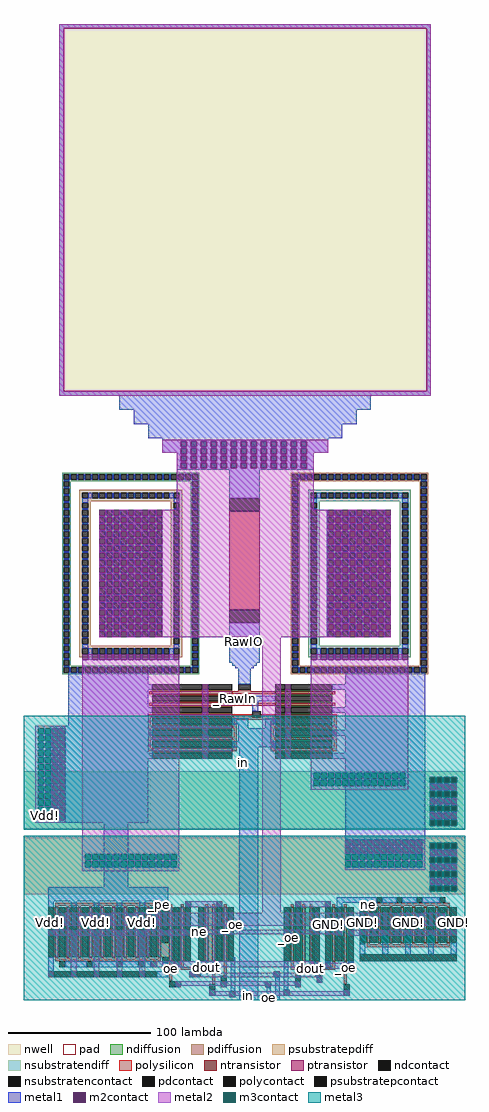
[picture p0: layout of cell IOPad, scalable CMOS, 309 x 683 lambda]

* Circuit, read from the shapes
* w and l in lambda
.subckt IOPad GND! RawIO Vdd! _RawIn _oe _pe dout in ne oe
M1 in _RawIn GND! GND! nfet w=40 l=2 m=4
M2 _RawIn RawIO GND! GND! nfet w=40 l=2 m=2
M3 GND! oe _oe GND! nfet w=38 l=2
M4 n1 oe GND! GND! nfet w=38 l=2
M5 _pe dout n1 GND! nfet w=38 l=2
M6 ne dout GND! GND! nfet w=38 l=2
M7 GND! _oe ne GND! nfet w=38 l=2
M8 RawIO ne GND! GND! nfet w=25 l=2 m=8
M9 RawIO _pe Vdd! Vdd! pfet w=35 l=2 m=10
M10 in _RawIn Vdd! Vdd! pfet w=56 l=2 m=4
M11 _RawIn RawIO Vdd! Vdd! pfet w=56 l=2 m=2
M12 _pe oe Vdd! Vdd! pfet w=38 l=2
M13 Vdd! dout _pe Vdd! pfet w=38 l=2
M14 n2 dout ne Vdd! pfet w=38 l=2
M15 Vdd! _oe n2 Vdd! pfet w=38 l=2
M16 _oe oe Vdd! Vdd! pfet w=38 l=2
.ends

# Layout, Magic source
magic
tech scmos
<< ntransistor >>
rect 144 -152 184 -150
rect 144 -160 184 -158
rect 144 -168 184 -166
rect 144 -176 184 -174
rect 144 -184 184 -182
rect 144 -192 184 -190
rect 155 -339 157 -301
rect 163 -339 165 -301
rect 168 -339 170 -301
rect 184 -339 186 -301
rect 192 -339 194 -301
rect 208 -326 210 -301
rect 216 -326 218 -301
rect 224 -326 226 -301
rect 232 -326 234 -301
rect 240 -326 242 -301
rect 248 -326 250 -301
rect 256 -326 258 -301
rect 264 -326 266 -301
<< ptransistor >>
rect 58 -152 114 -150
rect 58 -160 114 -158
rect 58 -168 114 -166
rect 58 -176 114 -174
rect 58 -184 114 -182
rect 58 -192 114 -190
rect -10 -336 -8 -301
rect -2 -336 0 -301
rect 6 -336 8 -301
rect 14 -336 16 -301
rect 22 -336 24 -301
rect 30 -336 32 -301
rect 38 -336 40 -301
rect 46 -336 48 -301
rect 54 -336 56 -301
rect 62 -336 64 -301
rect 70 -339 72 -301
rect 78 -339 80 -301
rect 95 -339 97 -301
rect 100 -339 102 -301
rect 108 -339 110 -301
<< ndiffusion >>
rect 151 -149 155 -145
rect 144 -150 184 -149
rect 144 -153 184 -152
rect 144 -158 184 -157
rect 144 -161 184 -160
rect 151 -165 155 -161
rect 144 -166 184 -165
rect 144 -169 184 -168
rect 144 -174 184 -173
rect 144 -177 184 -176
rect 151 -181 155 -177
rect 144 -182 184 -181
rect 144 -185 184 -184
rect 144 -190 184 -189
rect 144 -193 184 -192
rect 151 -197 155 -193
rect 154 -339 155 -301
rect 157 -339 158 -301
rect 162 -339 163 -301
rect 165 -339 168 -301
rect 170 -339 171 -301
rect 183 -339 184 -301
rect 186 -317 187 -301
rect 191 -317 192 -301
rect 186 -321 192 -317
rect 186 -339 187 -321
rect 191 -339 192 -321
rect 194 -317 195 -301
rect 194 -321 199 -317
rect 194 -339 195 -321
rect 207 -317 208 -301
rect 203 -321 208 -317
rect 207 -326 208 -321
rect 210 -305 211 -301
rect 215 -305 216 -301
rect 210 -314 216 -305
rect 210 -326 211 -314
rect 215 -326 216 -314
rect 218 -317 219 -301
rect 223 -317 224 -301
rect 218 -321 224 -317
rect 218 -326 219 -321
rect 223 -326 224 -321
rect 226 -305 227 -301
rect 231 -305 232 -301
rect 226 -314 232 -305
rect 226 -326 227 -314
rect 231 -326 232 -314
rect 234 -317 235 -301
rect 239 -317 240 -301
rect 234 -321 240 -317
rect 234 -326 235 -321
rect 239 -326 240 -321
rect 242 -305 243 -301
rect 247 -305 248 -301
rect 242 -314 248 -305
rect 242 -326 243 -314
rect 247 -326 248 -314
rect 250 -317 251 -301
rect 255 -317 256 -301
rect 250 -321 256 -317
rect 250 -326 251 -321
rect 255 -326 256 -321
rect 258 -305 259 -301
rect 263 -305 264 -301
rect 258 -314 264 -305
rect 258 -326 259 -314
rect 263 -326 264 -314
rect 266 -317 267 -301
rect 266 -321 271 -317
rect 266 -326 267 -321
<< pdiffusion >>
rect 93 -149 97 -145
rect 58 -150 114 -149
rect 58 -153 114 -152
rect 58 -158 114 -157
rect 58 -161 114 -160
rect 93 -165 97 -161
rect 58 -166 114 -165
rect 58 -169 114 -168
rect 58 -174 114 -173
rect 58 -177 114 -176
rect 93 -181 97 -177
rect 58 -182 114 -181
rect 58 -185 114 -184
rect 58 -190 114 -189
rect 58 -193 114 -192
rect 93 -197 97 -193
rect -11 -317 -10 -301
rect -15 -321 -10 -317
rect -11 -336 -10 -321
rect -8 -305 -7 -301
rect -3 -305 -2 -301
rect -8 -314 -2 -305
rect -8 -336 -7 -314
rect -3 -336 -2 -314
rect 0 -317 1 -301
rect 5 -317 6 -301
rect 0 -321 6 -317
rect 0 -336 1 -321
rect 5 -336 6 -321
rect 8 -305 9 -301
rect 13 -305 14 -301
rect 8 -314 14 -305
rect 8 -336 9 -314
rect 13 -336 14 -314
rect 16 -317 17 -301
rect 21 -317 22 -301
rect 16 -321 22 -317
rect 16 -336 17 -321
rect 21 -336 22 -321
rect 24 -305 25 -301
rect 29 -305 30 -301
rect 24 -314 30 -305
rect 24 -336 25 -314
rect 29 -336 30 -314
rect 32 -317 33 -301
rect 37 -317 38 -301
rect 32 -321 38 -317
rect 32 -336 33 -321
rect 37 -336 38 -321
rect 40 -305 41 -301
rect 45 -305 46 -301
rect 40 -314 46 -305
rect 40 -336 41 -314
rect 45 -336 46 -314
rect 48 -317 49 -301
rect 53 -317 54 -301
rect 48 -321 54 -317
rect 48 -336 49 -321
rect 53 -336 54 -321
rect 56 -305 57 -301
rect 61 -305 62 -301
rect 56 -314 62 -305
rect 56 -336 57 -314
rect 61 -336 62 -314
rect 64 -317 65 -301
rect 69 -317 70 -301
rect 64 -321 70 -317
rect 64 -326 65 -321
rect 69 -326 70 -321
rect 64 -336 70 -326
rect 69 -339 70 -336
rect 72 -339 73 -301
rect 77 -339 78 -301
rect 80 -317 81 -301
rect 80 -321 85 -317
rect 80 -339 81 -321
rect 94 -317 95 -301
rect 90 -321 95 -317
rect 94 -339 95 -321
rect 97 -339 100 -301
rect 102 -339 103 -301
rect 107 -339 108 -301
rect 110 -339 111 -301
<< ndcontact >>
rect 144 -149 151 -145
rect 155 -149 184 -145
rect 144 -157 184 -153
rect 144 -165 151 -161
rect 155 -165 184 -161
rect 144 -173 184 -169
rect 144 -181 151 -177
rect 155 -181 184 -177
rect 144 -189 184 -185
rect 144 -197 151 -193
rect 155 -197 184 -193
rect 150 -339 154 -301
rect 158 -339 162 -301
rect 171 -339 175 -301
rect 179 -339 183 -301
rect 187 -317 191 -301
rect 187 -339 191 -321
rect 195 -317 199 -301
rect 195 -339 199 -321
rect 203 -317 207 -301
rect 203 -326 207 -321
rect 211 -305 215 -301
rect 211 -326 215 -314
rect 219 -317 223 -301
rect 219 -326 223 -321
rect 227 -305 231 -301
rect 227 -326 231 -314
rect 235 -317 239 -301
rect 235 -326 239 -321
rect 243 -305 247 -301
rect 243 -326 247 -314
rect 251 -317 255 -301
rect 251 -326 255 -321
rect 259 -305 263 -301
rect 259 -326 263 -314
rect 267 -317 271 -301
rect 267 -326 271 -321
<< pdcontact >>
rect 58 -149 93 -145
rect 97 -149 114 -145
rect 58 -157 114 -153
rect 58 -165 93 -161
rect 97 -165 114 -161
rect 58 -173 114 -169
rect 58 -181 93 -177
rect 97 -181 114 -177
rect 58 -189 114 -185
rect 58 -197 93 -193
rect 97 -197 114 -193
rect -15 -317 -11 -301
rect -15 -336 -11 -321
rect -7 -305 -3 -301
rect -7 -336 -3 -314
rect 1 -317 5 -301
rect 1 -336 5 -321
rect 9 -305 13 -301
rect 9 -336 13 -314
rect 17 -317 21 -301
rect 17 -336 21 -321
rect 25 -305 29 -301
rect 25 -336 29 -314
rect 33 -317 37 -301
rect 33 -336 37 -321
rect 41 -305 45 -301
rect 41 -336 45 -314
rect 49 -317 53 -301
rect 49 -336 53 -321
rect 57 -305 61 -301
rect 57 -336 61 -314
rect 65 -317 69 -301
rect 65 -326 69 -321
rect 65 -340 69 -336
rect 73 -339 77 -301
rect 81 -317 85 -301
rect 81 -339 85 -321
rect 90 -317 94 -301
rect 90 -339 94 -321
rect 103 -339 107 -301
rect 111 -339 115 -301
<< nsubstratendiff >>
rect -15 -350 -11 -346
rect 1 -350 5 -346
rect 17 -350 21 -346
rect 33 -350 37 -346
rect 49 -350 53 -346
<< psubstratepcontact >>
rect 203 -339 271 -334
<< nsubstratencontact >>
rect -11 -350 1 -346
rect 5 -350 17 -346
rect 21 -350 33 -346
rect 37 -350 49 -346
rect 53 -350 61 -346
<< polysilicon >>
rect 112 -93 133 -24
rect 118 -150 127 -149
rect 56 -152 58 -150
rect 114 -152 144 -150
rect 184 -152 186 -150
rect 121 -158 123 -152
rect 56 -160 58 -158
rect 114 -160 144 -158
rect 184 -160 186 -158
rect 55 -168 58 -166
rect 114 -168 128 -166
rect 134 -168 144 -166
rect 184 -168 187 -166
rect 55 -174 57 -168
rect 115 -170 143 -168
rect 115 -174 117 -170
rect 55 -176 58 -174
rect 114 -176 117 -174
rect 55 -182 57 -176
rect 115 -182 117 -176
rect 55 -184 58 -182
rect 114 -184 117 -182
rect 55 -190 57 -184
rect 115 -190 117 -184
rect 55 -192 58 -190
rect 114 -192 117 -190
rect 141 -174 143 -170
rect 185 -174 187 -168
rect 141 -176 144 -174
rect 184 -176 187 -174
rect 141 -182 143 -176
rect 185 -182 187 -176
rect 141 -184 144 -182
rect 184 -184 187 -182
rect 141 -190 143 -184
rect 185 -190 187 -184
rect 141 -192 144 -190
rect 184 -192 187 -190
rect -10 -300 64 -298
rect -10 -301 -8 -300
rect -2 -301 0 -300
rect 6 -301 8 -300
rect 14 -301 16 -300
rect 22 -301 24 -300
rect 30 -301 32 -300
rect 38 -301 40 -300
rect 46 -301 48 -300
rect 54 -301 56 -300
rect 62 -301 64 -300
rect 70 -301 72 -299
rect 78 -301 80 -299
rect 95 -301 97 -299
rect 100 -301 102 -299
rect 108 -301 110 -299
rect 155 -301 157 -299
rect 163 -301 165 -299
rect 168 -301 170 -299
rect 184 -301 186 -299
rect 192 -301 194 -299
rect 208 -300 266 -298
rect 208 -301 210 -300
rect 216 -301 218 -300
rect 224 -301 226 -300
rect 232 -301 234 -300
rect 240 -301 242 -300
rect 248 -301 250 -300
rect 256 -301 258 -300
rect 264 -301 266 -300
rect -10 -337 -8 -336
rect -2 -337 0 -336
rect 6 -337 8 -336
rect 14 -337 16 -336
rect 22 -337 24 -336
rect 30 -337 32 -336
rect 38 -337 40 -336
rect 46 -337 48 -336
rect 54 -337 56 -336
rect 62 -337 64 -336
rect -10 -339 64 -337
rect 208 -327 210 -326
rect 216 -327 218 -326
rect 224 -327 226 -326
rect 232 -327 234 -326
rect 240 -327 242 -326
rect 248 -327 250 -326
rect 256 -327 258 -326
rect 264 -327 266 -326
rect 208 -329 266 -327
rect 70 -353 72 -339
rect 78 -343 80 -339
rect 95 -343 97 -339
rect 78 -345 97 -343
rect 88 -346 92 -345
rect 100 -355 102 -339
rect 108 -349 110 -339
rect 155 -343 157 -339
rect 163 -343 165 -339
rect 155 -345 165 -343
rect 168 -343 170 -339
rect 184 -343 186 -339
rect 168 -345 186 -343
rect 158 -349 161 -345
rect 172 -346 176 -345
rect 192 -355 194 -339
<< polycontact >>
rect 112 -24 133 -15
rect 112 -102 133 -93
rect 118 -149 127 -145
rect 128 -168 134 -164
rect 215 -298 219 -294
rect 229 -298 233 -294
rect 243 -298 247 -294
rect 259 -298 263 -294
rect -7 -343 -3 -339
rect 12 -343 16 -339
rect 33 -343 37 -339
rect 48 -343 52 -339
rect 88 -350 92 -346
rect 70 -357 74 -353
rect 106 -353 110 -349
rect 158 -353 162 -349
rect 172 -350 176 -346
rect 98 -359 102 -355
rect 192 -359 196 -355
<< metal1 >>
rect 65 25 181 26
rect 65 21 78 25
rect 82 21 85 25
rect 89 21 92 25
rect 96 21 99 25
rect 103 21 106 25
rect 110 21 113 25
rect 117 21 120 25
rect 124 21 127 25
rect 131 21 134 25
rect 138 21 141 25
rect 145 21 148 25
rect 152 21 155 25
rect 159 21 162 25
rect 166 21 181 25
rect 65 20 181 21
rect 65 17 78 20
rect 75 16 78 17
rect 82 16 85 20
rect 89 16 92 20
rect 96 16 99 20
rect 103 16 106 20
rect 110 16 113 20
rect 117 16 120 20
rect 124 16 127 20
rect 131 16 134 20
rect 138 16 141 20
rect 145 16 148 20
rect 152 16 155 20
rect 159 16 162 20
rect 166 17 181 20
rect 166 16 171 17
rect 75 15 171 16
rect 75 11 78 15
rect 82 11 85 15
rect 89 11 92 15
rect 96 11 99 15
rect 103 11 106 15
rect 110 11 113 15
rect 117 11 120 15
rect 124 11 127 15
rect 131 11 134 15
rect 138 11 141 15
rect 145 11 148 15
rect 152 11 155 15
rect 159 11 162 15
rect 166 11 171 15
rect 75 10 171 11
rect 75 6 78 10
rect 82 6 85 10
rect 89 6 92 10
rect 96 6 99 10
rect 103 6 106 10
rect 110 6 113 10
rect 117 6 120 10
rect 124 6 127 10
rect 131 6 134 10
rect 138 6 141 10
rect 145 6 148 10
rect 152 6 155 10
rect 159 6 162 10
rect 166 6 171 10
rect 75 5 171 6
rect 112 -15 133 5
rect 13 -128 16 -124
rect 20 -128 21 -124
rect 25 -128 26 -124
rect 30 -128 31 -124
rect 35 -128 36 -124
rect 40 -128 41 -124
rect 45 -128 46 -124
rect 50 -128 51 -124
rect 55 -128 56 -124
rect 60 -128 61 -124
rect 65 -128 66 -124
rect 70 -128 73 -124
rect 112 -130 133 -102
rect 173 -128 176 -124
rect 180 -128 181 -124
rect 185 -128 186 -124
rect 190 -128 191 -124
rect 195 -128 196 -124
rect 200 -128 201 -124
rect 205 -128 206 -124
rect 210 -128 211 -124
rect 215 -128 216 -124
rect 220 -128 221 -124
rect 225 -128 226 -124
rect 230 -128 233 -124
rect 114 -132 131 -130
rect 116 -134 129 -132
rect -1 -145 55 -137
rect 118 -145 127 -134
rect 193 -145 249 -137
rect -1 -149 58 -145
rect 184 -149 249 -145
rect -1 -161 55 -149
rect 114 -157 144 -153
rect -1 -165 58 -161
rect 128 -164 132 -157
rect 193 -161 249 -149
rect -1 -174 55 -165
rect 184 -165 249 -161
rect 114 -173 125 -169
rect -13 -176 55 -174
rect -13 -180 -12 -176
rect -8 -180 -7 -176
rect -3 -177 55 -176
rect 118 -176 125 -173
rect 137 -173 144 -169
rect 137 -176 141 -173
rect -3 -180 58 -177
rect -13 -181 58 -180
rect -13 -185 -12 -181
rect -8 -185 -7 -181
rect -3 -185 55 -181
rect 118 -185 141 -176
rect 193 -177 249 -165
rect 184 -181 249 -177
rect -13 -186 55 -185
rect -13 -190 -12 -186
rect -8 -190 -7 -186
rect -3 -190 55 -186
rect 114 -189 144 -185
rect -13 -191 55 -190
rect -13 -195 -12 -191
rect -8 -195 -7 -191
rect -3 -193 55 -191
rect -3 -195 58 -193
rect -13 -196 58 -195
rect -13 -200 -12 -196
rect -8 -200 -7 -196
rect -3 -197 58 -196
rect -3 -200 55 -197
rect -13 -201 55 -200
rect -13 -205 -12 -201
rect -8 -205 -7 -201
rect -3 -205 55 -201
rect -13 -206 55 -205
rect -13 -210 -12 -206
rect -8 -210 -7 -206
rect -3 -210 55 -206
rect -13 -211 55 -210
rect -13 -215 -12 -211
rect -8 -215 -7 -211
rect -3 -215 55 -211
rect -13 -216 55 -215
rect -13 -220 -12 -216
rect -8 -220 -7 -216
rect -3 -220 55 -216
rect -13 -221 55 -220
rect -13 -225 -12 -221
rect -8 -225 -7 -221
rect -3 -225 55 -221
rect -13 -226 55 -225
rect -13 -230 -12 -226
rect -8 -230 -7 -226
rect -3 -230 55 -226
rect -13 -231 55 -230
rect -13 -235 -12 -231
rect -8 -235 -7 -231
rect -3 -235 55 -231
rect -13 -236 55 -235
rect -13 -240 -12 -236
rect -8 -240 -7 -236
rect -3 -240 55 -236
rect -13 -242 55 -240
rect 24 -287 41 -242
rect -15 -297 69 -287
rect -15 -301 -11 -297
rect 1 -301 5 -297
rect 17 -301 21 -297
rect 33 -301 37 -297
rect 49 -301 53 -297
rect 65 -301 69 -297
rect -15 -346 -11 -336
rect -3 -343 12 -339
rect 16 -343 33 -339
rect 37 -343 48 -339
rect 52 -343 57 -339
rect 65 -346 69 -340
rect 115 -339 116 -336
rect 61 -350 69 -346
rect 113 -360 116 -339
rect 119 -366 132 -189
rect 193 -193 249 -181
rect 184 -197 249 -193
rect 193 -254 249 -197
rect 197 -258 198 -254
rect 202 -258 203 -254
rect 207 -258 208 -254
rect 212 -258 213 -254
rect 217 -258 218 -254
rect 222 -258 223 -254
rect 227 -258 228 -254
rect 232 -258 233 -254
rect 237 -258 238 -254
rect 242 -258 243 -254
rect 247 -258 249 -254
rect 193 -259 249 -258
rect 197 -263 198 -259
rect 202 -263 203 -259
rect 207 -263 208 -259
rect 212 -263 213 -259
rect 217 -263 218 -259
rect 222 -263 223 -259
rect 227 -263 228 -259
rect 232 -263 233 -259
rect 237 -263 238 -259
rect 242 -263 243 -259
rect 247 -263 249 -259
rect 193 -264 249 -263
rect 138 -366 141 -357
rect 144 -366 147 -350
rect 150 -359 153 -339
rect 187 -298 215 -294
rect 219 -298 229 -294
rect 233 -298 243 -294
rect 247 -298 259 -294
rect 187 -301 191 -298
rect 203 -334 207 -326
rect 219 -334 223 -326
rect 235 -334 239 -326
rect 251 -334 255 -326
rect 267 -334 271 -326
rect 179 -340 183 -339
rect 195 -340 199 -339
<< m2contact >>
rect 78 21 82 25
rect 85 21 89 25
rect 92 21 96 25
rect 99 21 103 25
rect 106 21 110 25
rect 113 21 117 25
rect 120 21 124 25
rect 127 21 131 25
rect 134 21 138 25
rect 141 21 145 25
rect 148 21 152 25
rect 155 21 159 25
rect 162 21 166 25
rect 78 16 82 20
rect 85 16 89 20
rect 92 16 96 20
rect 99 16 103 20
rect 106 16 110 20
rect 113 16 117 20
rect 120 16 124 20
rect 127 16 131 20
rect 134 16 138 20
rect 141 16 145 20
rect 148 16 152 20
rect 155 16 159 20
rect 162 16 166 20
rect 78 11 82 15
rect 85 11 89 15
rect 92 11 96 15
rect 99 11 103 15
rect 106 11 110 15
rect 113 11 117 15
rect 120 11 124 15
rect 127 11 131 15
rect 134 11 138 15
rect 141 11 145 15
rect 148 11 152 15
rect 155 11 159 15
rect 162 11 166 15
rect 78 6 82 10
rect 85 6 89 10
rect 92 6 96 10
rect 99 6 103 10
rect 106 6 110 10
rect 113 6 117 10
rect 120 6 124 10
rect 127 6 131 10
rect 134 6 138 10
rect 141 6 145 10
rect 148 6 152 10
rect 155 6 159 10
rect 162 6 166 10
rect 9 -128 13 -124
rect 16 -128 20 -124
rect 21 -128 25 -124
rect 26 -128 30 -124
rect 31 -128 35 -124
rect 36 -128 40 -124
rect 41 -128 45 -124
rect 46 -128 50 -124
rect 51 -128 55 -124
rect 56 -128 60 -124
rect 61 -128 65 -124
rect 66 -128 70 -124
rect 73 -128 77 -124
rect 169 -128 173 -124
rect 176 -128 180 -124
rect 181 -128 185 -124
rect 186 -128 190 -124
rect 191 -128 195 -124
rect 196 -128 200 -124
rect 201 -128 205 -124
rect 206 -128 210 -124
rect 211 -128 215 -124
rect 216 -128 220 -124
rect 221 -128 225 -124
rect 226 -128 230 -124
rect 233 -128 237 -124
rect 93 -149 97 -145
rect 151 -149 155 -145
rect 93 -165 97 -161
rect 151 -165 155 -161
rect -12 -180 -8 -176
rect -7 -180 -3 -176
rect 93 -181 97 -177
rect -12 -185 -8 -181
rect -7 -185 -3 -181
rect 151 -181 155 -177
rect -12 -190 -8 -186
rect -7 -190 -3 -186
rect -12 -195 -8 -191
rect -7 -195 -3 -191
rect -12 -200 -8 -196
rect -7 -200 -3 -196
rect 93 -197 97 -193
rect -12 -205 -8 -201
rect -7 -205 -3 -201
rect -12 -210 -8 -206
rect -7 -210 -3 -206
rect -12 -215 -8 -211
rect -7 -215 -3 -211
rect -12 -220 -8 -216
rect -7 -220 -3 -216
rect -12 -225 -8 -221
rect -7 -225 -3 -221
rect -12 -230 -8 -226
rect -7 -230 -3 -226
rect -12 -235 -8 -231
rect -7 -235 -3 -231
rect -12 -240 -8 -236
rect -7 -240 -3 -236
rect 81 -301 85 -297
rect 103 -301 107 -297
rect -15 -321 -11 -317
rect -7 -314 -3 -305
rect 1 -321 5 -317
rect 9 -314 13 -305
rect 17 -321 21 -317
rect 25 -314 29 -305
rect 33 -321 37 -317
rect 41 -314 45 -305
rect 49 -321 53 -317
rect 57 -314 61 -305
rect 65 -321 69 -317
rect 57 -343 61 -339
rect 81 -321 85 -317
rect 90 -321 94 -317
rect 73 -343 77 -339
rect -15 -350 -11 -346
rect 1 -350 5 -346
rect 17 -350 21 -346
rect 33 -350 37 -346
rect 49 -350 53 -346
rect 84 -350 88 -346
rect 74 -357 78 -353
rect 106 -357 110 -353
rect 98 -363 102 -359
rect 112 -364 116 -360
rect 151 -197 155 -193
rect 193 -258 197 -254
rect 198 -258 202 -254
rect 203 -258 207 -254
rect 208 -258 212 -254
rect 213 -258 217 -254
rect 218 -258 222 -254
rect 223 -258 227 -254
rect 228 -258 232 -254
rect 233 -258 237 -254
rect 238 -258 242 -254
rect 243 -258 247 -254
rect 193 -263 197 -259
rect 198 -263 202 -259
rect 203 -263 207 -259
rect 208 -263 212 -259
rect 213 -263 217 -259
rect 218 -263 222 -259
rect 223 -263 227 -259
rect 228 -263 232 -259
rect 233 -263 237 -259
rect 238 -263 242 -259
rect 243 -263 247 -259
rect 158 -301 162 -297
rect 179 -301 183 -297
rect 143 -350 147 -346
rect 137 -357 141 -353
rect 171 -343 175 -339
rect 187 -321 191 -317
rect 195 -321 199 -317
rect 203 -321 207 -317
rect 211 -314 215 -305
rect 219 -321 223 -317
rect 227 -314 231 -305
rect 235 -321 239 -317
rect 243 -314 247 -305
rect 251 -321 255 -317
rect 259 -314 263 -305
rect 267 -321 271 -317
rect 179 -344 183 -340
rect 195 -344 199 -340
rect 158 -357 162 -353
rect 173 -354 177 -350
rect 150 -363 154 -359
rect 192 -363 196 -359
<< metal2 >>
rect 65 25 181 26
rect 65 21 78 25
rect 82 21 85 25
rect 89 21 92 25
rect 96 21 99 25
rect 103 21 106 25
rect 110 21 113 25
rect 117 21 120 25
rect 124 21 127 25
rect 131 21 134 25
rect 138 21 141 25
rect 145 21 148 25
rect 152 21 155 25
rect 159 21 162 25
rect 166 21 181 25
rect 65 20 181 21
rect 65 17 78 20
rect 75 16 78 17
rect 82 16 85 20
rect 89 16 92 20
rect 96 16 99 20
rect 103 16 106 20
rect 110 16 113 20
rect 117 16 120 20
rect 124 16 127 20
rect 131 16 134 20
rect 138 16 141 20
rect 145 16 148 20
rect 152 16 155 20
rect 159 16 162 20
rect 166 17 181 20
rect 166 16 171 17
rect 75 15 171 16
rect 75 11 78 15
rect 82 11 85 15
rect 89 11 92 15
rect 96 11 99 15
rect 103 11 106 15
rect 110 11 113 15
rect 117 11 120 15
rect 124 11 127 15
rect 131 11 134 15
rect 138 11 141 15
rect 145 11 148 15
rect 152 11 155 15
rect 159 11 162 15
rect 166 11 171 15
rect 75 10 171 11
rect 75 6 78 10
rect 82 6 85 10
rect 89 6 92 10
rect 96 6 99 10
rect 103 6 106 10
rect 110 6 113 10
rect 117 6 120 10
rect 124 6 127 10
rect 131 6 134 10
rect 138 6 141 10
rect 145 6 148 10
rect 152 6 155 10
rect 159 6 162 10
rect 166 6 171 10
rect 75 -23 171 6
rect 65 -112 181 -23
rect 13 -128 16 -124
rect 20 -128 21 -124
rect 25 -128 26 -124
rect 30 -128 31 -124
rect 35 -128 36 -124
rect 40 -128 41 -124
rect 45 -128 46 -124
rect 50 -128 51 -124
rect 55 -128 56 -124
rect 60 -128 61 -124
rect 65 -128 66 -124
rect 70 -128 73 -124
rect -24 -176 -3 -174
rect -24 -180 -22 -176
rect -18 -180 -17 -176
rect -13 -180 -12 -176
rect -8 -180 -7 -176
rect -24 -181 -3 -180
rect -24 -185 -22 -181
rect -18 -185 -17 -181
rect -13 -185 -12 -181
rect -8 -185 -7 -181
rect -24 -186 -3 -185
rect -24 -190 -22 -186
rect -18 -190 -17 -186
rect -13 -190 -12 -186
rect -8 -190 -7 -186
rect -24 -191 -3 -190
rect -24 -195 -22 -191
rect -18 -195 -17 -191
rect -13 -195 -12 -191
rect -8 -195 -7 -191
rect -24 -196 -3 -195
rect -24 -200 -22 -196
rect -18 -200 -17 -196
rect -13 -200 -12 -196
rect -8 -200 -7 -196
rect -24 -201 -3 -200
rect -24 -205 -22 -201
rect -18 -205 -17 -201
rect -13 -205 -12 -201
rect -8 -205 -7 -201
rect -24 -206 -3 -205
rect -24 -210 -22 -206
rect -18 -210 -17 -206
rect -13 -210 -12 -206
rect -8 -210 -7 -206
rect -24 -211 -3 -210
rect -24 -215 -22 -211
rect -18 -215 -17 -211
rect -13 -215 -12 -211
rect -8 -215 -7 -211
rect -24 -216 -3 -215
rect -24 -220 -22 -216
rect -18 -220 -17 -216
rect -13 -220 -12 -216
rect -8 -220 -7 -216
rect -24 -221 -3 -220
rect -24 -225 -22 -221
rect -18 -225 -17 -221
rect -13 -225 -12 -221
rect -8 -225 -7 -221
rect -24 -226 -3 -225
rect -24 -230 -22 -226
rect -18 -230 -17 -226
rect -13 -230 -12 -226
rect -8 -230 -7 -226
rect -24 -231 -3 -230
rect -24 -235 -22 -231
rect -18 -235 -17 -231
rect -13 -235 -12 -231
rect -8 -235 -7 -231
rect -24 -236 -3 -235
rect -24 -240 -22 -236
rect -18 -240 -17 -236
rect -13 -240 -12 -236
rect -8 -240 -7 -236
rect -24 -242 -3 -240
rect 9 -264 77 -128
rect 93 -161 97 -149
rect 93 -177 97 -165
rect 93 -193 97 -181
rect 9 -268 11 -264
rect 15 -268 16 -264
rect 20 -268 21 -264
rect 25 -268 26 -264
rect 30 -268 31 -264
rect 35 -268 36 -264
rect 40 -268 41 -264
rect 45 -268 46 -264
rect 50 -268 51 -264
rect 55 -268 56 -264
rect 60 -268 61 -264
rect 65 -268 66 -264
rect 70 -268 71 -264
rect 75 -268 77 -264
rect 9 -269 77 -268
rect 9 -273 11 -269
rect 15 -273 16 -269
rect 20 -273 21 -269
rect 25 -273 26 -269
rect 30 -273 31 -269
rect 35 -273 36 -269
rect 40 -273 41 -269
rect 45 -273 46 -269
rect 50 -273 51 -269
rect 55 -273 56 -269
rect 60 -273 61 -269
rect 65 -273 66 -269
rect 70 -273 71 -269
rect 75 -273 77 -269
rect 9 -276 77 -273
rect 85 -301 103 -297
rect 135 -305 148 -112
rect 173 -128 176 -124
rect 180 -128 181 -124
rect 185 -128 186 -124
rect 190 -128 191 -124
rect 195 -128 196 -124
rect 200 -128 201 -124
rect 205 -128 206 -124
rect 210 -128 211 -124
rect 215 -128 216 -124
rect 220 -128 221 -124
rect 225 -128 226 -124
rect 230 -128 233 -124
rect 151 -161 155 -149
rect 151 -177 155 -165
rect 151 -193 155 -181
rect 169 -207 237 -128
rect 169 -211 171 -207
rect 175 -211 176 -207
rect 180 -211 181 -207
rect 185 -211 186 -207
rect 190 -211 191 -207
rect 195 -211 196 -207
rect 200 -211 201 -207
rect 205 -211 206 -207
rect 210 -211 211 -207
rect 215 -211 216 -207
rect 220 -211 221 -207
rect 225 -211 226 -207
rect 230 -211 231 -207
rect 235 -211 237 -207
rect 169 -212 237 -211
rect 169 -216 171 -212
rect 175 -216 176 -212
rect 180 -216 181 -212
rect 185 -216 186 -212
rect 190 -216 191 -212
rect 195 -216 196 -212
rect 200 -216 201 -212
rect 205 -216 206 -212
rect 210 -216 211 -212
rect 215 -216 216 -212
rect 220 -216 221 -212
rect 225 -216 226 -212
rect 230 -216 231 -212
rect 235 -216 237 -212
rect 169 -219 237 -216
rect 197 -258 198 -254
rect 202 -258 203 -254
rect 207 -258 208 -254
rect 212 -258 213 -254
rect 217 -258 218 -254
rect 222 -258 223 -254
rect 227 -258 228 -254
rect 232 -258 233 -254
rect 237 -258 238 -254
rect 242 -258 243 -254
rect 247 -258 249 -254
rect 193 -259 249 -258
rect 197 -263 198 -259
rect 202 -263 203 -259
rect 207 -263 208 -259
rect 212 -263 213 -259
rect 217 -263 218 -259
rect 222 -263 223 -259
rect 227 -263 228 -259
rect 232 -263 233 -259
rect 237 -263 238 -259
rect 242 -263 243 -259
rect 247 -263 249 -259
rect 193 -264 249 -263
rect 197 -268 198 -264
rect 202 -268 203 -264
rect 207 -268 208 -264
rect 212 -268 213 -264
rect 217 -268 218 -264
rect 222 -268 223 -264
rect 227 -268 228 -264
rect 232 -268 233 -264
rect 237 -268 238 -264
rect 242 -268 243 -264
rect 247 -268 249 -264
rect 193 -269 249 -268
rect 197 -273 198 -269
rect 202 -273 203 -269
rect 207 -273 208 -269
rect 212 -273 213 -269
rect 217 -273 218 -269
rect 222 -273 223 -269
rect 227 -273 228 -269
rect 232 -273 233 -269
rect 237 -273 238 -269
rect 242 -273 243 -269
rect 247 -273 249 -269
rect 193 -275 249 -273
rect 162 -301 179 -297
rect -3 -314 9 -305
rect 13 -314 25 -305
rect 29 -314 41 -305
rect 45 -314 57 -305
rect 61 -314 211 -305
rect 215 -314 227 -305
rect 231 -314 243 -305
rect 247 -314 259 -305
rect -11 -321 1 -317
rect 5 -321 17 -317
rect 21 -321 33 -317
rect 37 -321 49 -317
rect 53 -321 65 -317
rect 69 -321 81 -317
rect 94 -320 187 -317
rect 199 -321 203 -317
rect 207 -321 219 -317
rect 223 -321 235 -317
rect 239 -321 251 -317
rect 255 -321 267 -317
rect 1 -346 5 -321
rect 17 -346 21 -321
rect 33 -346 37 -321
rect 49 -346 53 -321
rect 61 -343 73 -339
rect 77 -343 171 -339
rect 183 -344 195 -340
rect 88 -350 143 -347
rect 147 -350 177 -347
rect 78 -356 106 -353
rect 110 -356 137 -353
rect 141 -356 158 -353
rect 102 -363 112 -360
rect 116 -363 150 -360
rect 154 -363 192 -360
<< m3contact >>
rect -22 -180 -18 -176
rect -17 -180 -13 -176
rect -22 -185 -18 -181
rect -17 -185 -13 -181
rect -22 -190 -18 -186
rect -17 -190 -13 -186
rect -22 -195 -18 -191
rect -17 -195 -13 -191
rect -22 -200 -18 -196
rect -17 -200 -13 -196
rect -22 -205 -18 -201
rect -17 -205 -13 -201
rect -22 -210 -18 -206
rect -17 -210 -13 -206
rect -22 -215 -18 -211
rect -17 -215 -13 -211
rect -22 -220 -18 -216
rect -17 -220 -13 -216
rect -22 -225 -18 -221
rect -17 -225 -13 -221
rect -22 -230 -18 -226
rect -17 -230 -13 -226
rect -22 -235 -18 -231
rect -17 -235 -13 -231
rect -22 -240 -18 -236
rect -17 -240 -13 -236
rect 11 -268 15 -264
rect 16 -268 20 -264
rect 21 -268 25 -264
rect 26 -268 30 -264
rect 31 -268 35 -264
rect 36 -268 40 -264
rect 41 -268 45 -264
rect 46 -268 50 -264
rect 51 -268 55 -264
rect 56 -268 60 -264
rect 61 -268 65 -264
rect 66 -268 70 -264
rect 71 -268 75 -264
rect 11 -273 15 -269
rect 16 -273 20 -269
rect 21 -273 25 -269
rect 26 -273 30 -269
rect 31 -273 35 -269
rect 36 -273 40 -269
rect 41 -273 45 -269
rect 46 -273 50 -269
rect 51 -273 55 -269
rect 56 -273 60 -269
rect 61 -273 65 -269
rect 66 -273 70 -269
rect 71 -273 75 -269
rect 171 -211 175 -207
rect 176 -211 180 -207
rect 181 -211 185 -207
rect 186 -211 190 -207
rect 191 -211 195 -207
rect 196 -211 200 -207
rect 201 -211 205 -207
rect 206 -211 210 -207
rect 211 -211 215 -207
rect 216 -211 220 -207
rect 221 -211 225 -207
rect 226 -211 230 -207
rect 231 -211 235 -207
rect 171 -216 175 -212
rect 176 -216 180 -212
rect 181 -216 185 -212
rect 186 -216 190 -212
rect 191 -216 195 -212
rect 196 -216 200 -212
rect 201 -216 205 -212
rect 206 -216 210 -212
rect 211 -216 215 -212
rect 216 -216 220 -212
rect 221 -216 225 -212
rect 226 -216 230 -212
rect 231 -216 235 -212
rect 193 -268 197 -264
rect 198 -268 202 -264
rect 203 -268 207 -264
rect 208 -268 212 -264
rect 213 -268 217 -264
rect 218 -268 222 -264
rect 223 -268 227 -264
rect 228 -268 232 -264
rect 233 -268 237 -264
rect 238 -268 242 -264
rect 243 -268 247 -264
rect 193 -273 197 -269
rect 198 -273 202 -269
rect 203 -273 207 -269
rect 208 -273 212 -269
rect 213 -273 217 -269
rect 218 -273 222 -269
rect 223 -273 227 -269
rect 228 -273 232 -269
rect 233 -273 237 -269
rect 238 -273 242 -269
rect 243 -273 247 -269
rect 203 -327 207 -321
rect 219 -326 223 -321
rect 235 -326 239 -321
rect 251 -326 255 -321
<< metal3 >>
rect -24 -176 -12 -174
rect -24 -180 -22 -176
rect -18 -180 -17 -176
rect -13 -180 -12 -176
rect -24 -181 -12 -180
rect -24 -185 -22 -181
rect -18 -185 -17 -181
rect -13 -185 -12 -181
rect -24 -186 -12 -185
rect -24 -190 -22 -186
rect -18 -190 -17 -186
rect -13 -190 -12 -186
rect -24 -191 -12 -190
rect -24 -195 -22 -191
rect -18 -195 -17 -191
rect -13 -195 -12 -191
rect -24 -196 -12 -195
rect -24 -200 -22 -196
rect -18 -200 -17 -196
rect -13 -200 -12 -196
rect -24 -201 -12 -200
rect -24 -205 -22 -201
rect -18 -205 -17 -201
rect -13 -205 -12 -201
rect -24 -206 -12 -205
rect -24 -210 -22 -206
rect -18 -210 -17 -206
rect -13 -210 -12 -206
rect -24 -211 -12 -210
rect -24 -215 -22 -211
rect -18 -215 -17 -211
rect -13 -215 -12 -211
rect -24 -216 -12 -215
rect -24 -220 -22 -216
rect -18 -220 -17 -216
rect -13 -220 -12 -216
rect 169 -207 237 -206
rect 169 -211 171 -207
rect 175 -211 176 -207
rect 180 -211 181 -207
rect 185 -211 186 -207
rect 190 -211 191 -207
rect 195 -211 196 -207
rect 200 -211 201 -207
rect 205 -211 206 -207
rect 210 -211 211 -207
rect 215 -211 216 -207
rect 220 -211 221 -207
rect 225 -211 226 -207
rect 230 -211 231 -207
rect 235 -211 237 -207
rect 169 -212 237 -211
rect 169 -216 171 -212
rect 175 -216 176 -212
rect 180 -216 181 -212
rect 185 -216 186 -212
rect 190 -216 191 -212
rect 195 -216 196 -212
rect 200 -216 201 -212
rect 205 -216 206 -212
rect 210 -216 211 -212
rect 215 -216 216 -212
rect 220 -216 221 -212
rect 225 -216 226 -212
rect 230 -216 231 -212
rect 235 -216 237 -212
rect 169 -219 237 -216
rect -24 -221 -12 -220
rect -24 -225 -22 -221
rect -18 -225 -17 -221
rect -13 -225 -12 -221
rect -24 -226 -12 -225
rect -24 -230 -22 -226
rect -18 -230 -17 -226
rect -13 -230 -12 -226
rect -24 -231 -12 -230
rect -24 -235 -22 -231
rect -18 -235 -17 -231
rect -13 -235 -12 -231
rect -24 -236 -12 -235
rect -24 -240 -22 -236
rect -18 -240 -17 -236
rect -13 -240 -12 -236
rect -24 -243 -12 -240
rect 9 -264 77 -263
rect 9 -268 11 -264
rect 15 -268 16 -264
rect 20 -268 21 -264
rect 25 -268 26 -264
rect 30 -268 31 -264
rect 35 -268 36 -264
rect 40 -268 41 -264
rect 45 -268 46 -264
rect 50 -268 51 -264
rect 55 -268 56 -264
rect 60 -268 61 -264
rect 65 -268 66 -264
rect 70 -268 71 -264
rect 75 -268 77 -264
rect 9 -269 77 -268
rect 9 -273 11 -269
rect 15 -273 16 -269
rect 20 -273 21 -269
rect 25 -273 26 -269
rect 30 -273 31 -269
rect 35 -273 36 -269
rect 40 -273 41 -269
rect 45 -273 46 -269
rect 50 -273 51 -269
rect 55 -273 56 -269
rect 60 -273 61 -269
rect 65 -273 66 -269
rect 70 -273 71 -269
rect 75 -273 77 -269
rect 9 -276 77 -273
rect 192 -264 249 -262
rect 192 -268 193 -264
rect 197 -268 198 -264
rect 202 -268 203 -264
rect 207 -268 208 -264
rect 212 -268 213 -264
rect 217 -268 218 -264
rect 222 -268 223 -264
rect 227 -268 228 -264
rect 232 -268 233 -264
rect 237 -268 238 -264
rect 242 -268 243 -264
rect 247 -268 249 -264
rect 192 -269 249 -268
rect 192 -273 193 -269
rect 197 -273 198 -269
rect 202 -273 203 -269
rect 207 -273 208 -269
rect 212 -273 213 -269
rect 217 -273 218 -269
rect 222 -273 223 -269
rect 227 -273 228 -269
rect 232 -273 233 -269
rect 237 -273 238 -269
rect 242 -273 243 -269
rect 247 -273 249 -269
rect 192 -275 249 -273
rect 202 -321 208 -320
rect 202 -327 203 -321
rect 207 -327 208 -321
rect 202 -329 208 -327
rect 218 -321 224 -320
rect 218 -326 219 -321
rect 223 -326 224 -321
rect 218 -329 224 -326
rect 234 -321 240 -320
rect 234 -326 235 -321
rect 239 -326 240 -321
rect 234 -329 240 -326
rect 250 -321 256 -320
rect 250 -326 251 -321
rect 255 -326 256 -321
rect 250 -329 256 -326
use barepad b
transform 1 0 -23 0 1 -697
box 16 702 276 1014
use ndiode nd
transform 1 0 9 0 1 -125
box -14 -13 82 128
use pdiode pd
transform 1 0 148 0 1 -129
box 7 -9 103 132
use barering br
transform 1 0 -34 0 1 -343
box 2 -23 311 176
<< labels >>
rlabel metal3 -17 -237 -17 -237 1 Vdd!
rlabel metal1 122 -200 122 -200 1 in
rlabel metal1 116 -155 116 -155 1 _RawIn
rlabel metal1 122 -115 122 -115 1 RawIO
rlabel pdcontact 51 -312 51 -312 1 Vdd!
rlabel pdcontact 36 -312 36 -312 1 Vdd!
rlabel pdcontact 19 -312 19 -312 1 Vdd!
rlabel pdcontact 3 -312 3 -312 1 Vdd!
rlabel pdcontact 67 -312 67 -312 1 Vdd!
rlabel pdcontact -13 -312 -13 -312 1 Vdd!
rlabel polysilicon 63 -299 63 -299 1 _pe
rlabel pdcontact 67 -313 67 -313 1 Vdd!
rlabel pdcontact 114 -313 114 -313 1 _oe
rlabel pdcontact 104 -321 104 -321 1 Vdd!
rlabel ndcontact 269 -312 269 -312 1 GND!
rlabel ndcontact 253 -312 253 -312 1 GND!
rlabel ndcontact 237 -312 237 -312 1 GND!
rlabel ndcontact 220 -312 220 -312 1 GND!
rlabel ndcontact 205 -312 205 -312 1 GND!
rlabel polysilicon 209 -299 209 -299 1 ne
rlabel ndcontact 181 -313 181 -313 1 GND!
rlabel ndcontact 160 -312 160 -312 1 GND!
rlabel ndcontact 153 -322 153 -322 1 _oe
rlabel pdiffusion 91 -318 91 -318 1 ne
rlabel ndcontact 190 -321 190 -321 1 ne
rlabel ndcontact 173 -321 173 -321 1 _pe
rlabel m2contact 83 -318 83 -318 1 Vdd!
rlabel metal1 125 -363 125 -363 1 in
rlabel metal1 139 -364 139 -364 1 oe
rlabel metal1 145 -364 145 -364 1 dout
rlabel ndcontact 197 -317 197 -317 1 GND!
rlabel polysilicon 96 -343 96 -343 1 dout
rlabel polysilicon 79 -343 79 -343 1 dout
rlabel polysilicon 169 -344 169 -344 1 dout
rlabel polysilicon 185 -343 185 -343 1 dout
rlabel polysilicon 193 -343 193 -343 1 _oe
rlabel polysilicon 164 -344 164 -344 1 oe
rlabel polysilicon 156 -344 156 -344 1 oe
rlabel polysilicon 101 -344 101 -344 1 _oe
rlabel polysilicon 109 -344 109 -344 1 oe
rlabel polysilicon 71 -344 71 -344 1 oe
<< end >>

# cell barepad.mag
magic
tech scmos
<< nwell >>
rect 16 754 276 1014
<< metal1 >>
rect 16 1011 276 1014
rect 16 757 19 1011
rect 273 757 276 1011
rect 16 754 276 757
rect 58 744 234 754
rect 68 734 224 744
rect 78 724 214 734
rect 88 714 204 724
rect 98 702 194 714
<< metal2 >>
rect 16 1011 276 1014
rect 16 757 19 1011
rect 273 757 276 1011
rect 16 754 276 757
<< pad >>
rect 19 757 273 1011
<< end >>

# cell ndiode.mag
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
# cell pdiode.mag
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
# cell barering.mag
magic
tech scmos
<< psubstratepdiff >>
rect 2 87 311 91
rect 2 83 286 87
rect 290 83 291 87
rect 295 83 296 87
rect 300 83 301 87
rect 305 83 311 87
rect 2 77 311 83
rect 2 73 286 77
rect 290 73 291 77
rect 295 73 296 77
rect 300 73 301 77
rect 305 73 311 77
rect 2 67 311 73
rect 2 63 286 67
rect 290 63 291 67
rect 295 63 296 67
rect 300 63 301 67
rect 305 63 311 67
rect 2 57 311 63
rect 2 53 286 57
rect 290 53 291 57
rect 295 53 296 57
rect 300 53 301 57
rect 305 53 311 57
rect 2 51 311 53
<< nsubstratendiff >>
rect 2 133 311 137
rect 2 129 286 133
rect 290 129 291 133
rect 295 129 296 133
rect 300 129 301 133
rect 305 129 311 133
rect 2 123 311 129
rect 2 119 286 123
rect 290 119 291 123
rect 295 119 296 123
rect 300 119 301 123
rect 305 119 311 123
rect 2 113 311 119
rect 2 109 286 113
rect 290 109 291 113
rect 295 109 296 113
rect 300 109 301 113
rect 305 109 311 113
rect 2 103 311 109
rect 2 99 286 103
rect 290 99 291 103
rect 295 99 296 103
rect 300 99 301 103
rect 305 99 311 103
rect 2 97 311 99
<< psubstratepcontact >>
rect 286 83 290 87
rect 291 83 295 87
rect 296 83 300 87
rect 301 83 305 87
rect 286 73 290 77
rect 291 73 295 77
rect 296 73 300 77
rect 301 73 305 77
rect 286 63 290 67
rect 291 63 295 67
rect 296 63 300 67
rect 301 63 305 67
rect 286 53 290 57
rect 291 53 295 57
rect 296 53 300 57
rect 301 53 305 57
<< nsubstratencontact >>
rect 286 129 290 133
rect 291 129 295 133
rect 296 129 300 133
rect 301 129 305 133
rect 286 119 290 123
rect 291 119 295 123
rect 296 119 300 123
rect 301 119 305 123
rect 286 109 290 113
rect 291 109 295 113
rect 296 109 300 113
rect 301 109 305 113
rect 286 99 290 103
rect 291 99 295 103
rect 296 99 300 103
rect 301 99 305 103
<< metal1 >>
rect 290 129 291 133
rect 295 129 296 133
rect 300 129 301 133
rect 286 128 305 129
rect 290 124 291 128
rect 295 124 296 128
rect 300 124 301 128
rect 286 123 305 124
rect 290 119 291 123
rect 295 119 296 123
rect 300 119 301 123
rect 286 118 305 119
rect 290 114 291 118
rect 295 114 296 118
rect 300 114 301 118
rect 286 113 305 114
rect 290 109 291 113
rect 295 109 296 113
rect 300 109 301 113
rect 286 108 305 109
rect 290 104 291 108
rect 295 104 296 108
rect 300 104 301 108
rect 286 103 305 104
rect 290 99 291 103
rect 295 99 296 103
rect 300 99 301 103
rect 290 83 291 87
rect 295 83 296 87
rect 300 83 301 87
rect 286 82 305 83
rect 290 78 291 82
rect 295 78 296 82
rect 300 78 301 82
rect 286 77 305 78
rect 290 73 291 77
rect 295 73 296 77
rect 300 73 301 77
rect 286 72 305 73
rect 290 68 291 72
rect 295 68 296 72
rect 300 68 301 72
rect 286 67 305 68
rect 290 63 291 67
rect 295 63 296 67
rect 300 63 301 67
rect 286 62 305 63
rect 290 58 291 62
rect 295 58 296 62
rect 300 58 301 62
rect 286 57 305 58
rect 290 53 291 57
rect 295 53 296 57
rect 300 53 301 57
<< m2contact >>
rect 286 124 290 128
rect 291 124 295 128
rect 296 124 300 128
rect 301 124 305 128
rect 286 114 290 118
rect 291 114 295 118
rect 296 114 300 118
rect 301 114 305 118
rect 286 104 290 108
rect 291 104 295 108
rect 296 104 300 108
rect 301 104 305 108
rect 286 78 290 82
rect 291 78 295 82
rect 296 78 300 82
rect 301 78 305 82
rect 286 68 290 72
rect 291 68 295 72
rect 296 68 300 72
rect 301 68 305 72
rect 286 58 290 62
rect 291 58 295 62
rect 296 58 300 62
rect 301 58 305 62
<< metal2 >>
rect 290 129 291 133
rect 295 129 296 133
rect 300 129 301 133
rect 286 128 305 129
rect 290 124 291 128
rect 295 124 296 128
rect 300 124 301 128
rect 286 123 305 124
rect 290 119 291 123
rect 295 119 296 123
rect 300 119 301 123
rect 286 118 305 119
rect 290 114 291 118
rect 295 114 296 118
rect 300 114 301 118
rect 286 113 305 114
rect 290 109 291 113
rect 295 109 296 113
rect 300 109 301 113
rect 286 108 305 109
rect 290 104 291 108
rect 295 104 296 108
rect 300 104 301 108
rect 286 103 305 104
rect 290 99 291 103
rect 295 99 296 103
rect 300 99 301 103
rect 290 83 291 87
rect 295 83 296 87
rect 300 83 301 87
rect 286 82 305 83
rect 290 78 291 82
rect 295 78 296 82
rect 300 78 301 82
rect 286 77 305 78
rect 290 73 291 77
rect 295 73 296 77
rect 300 73 301 77
rect 286 72 305 73
rect 290 68 291 72
rect 295 68 296 72
rect 300 68 301 72
rect 286 67 305 68
rect 290 63 291 67
rect 295 63 296 67
rect 300 63 301 67
rect 286 62 305 63
rect 290 58 291 62
rect 295 58 296 62
rect 300 58 301 62
rect 286 57 305 58
rect 290 53 291 57
rect 295 53 296 57
rect 300 53 301 57
<< m3contact >>
rect 286 129 290 133
rect 291 129 295 133
rect 296 129 300 133
rect 301 129 305 133
rect 286 119 290 123
rect 291 119 295 123
rect 296 119 300 123
rect 301 119 305 123
rect 286 109 290 113
rect 291 109 295 113
rect 296 109 300 113
rect 301 109 305 113
rect 286 99 290 103
rect 291 99 295 103
rect 296 99 300 103
rect 301 99 305 103
rect 286 83 290 87
rect 291 83 295 87
rect 296 83 300 87
rect 301 83 305 87
rect 286 73 290 77
rect 291 73 295 77
rect 296 73 300 77
rect 301 73 305 77
rect 286 63 290 67
rect 291 63 295 67
rect 296 63 300 67
rect 301 63 305 67
rect 286 53 290 57
rect 291 53 295 57
rect 296 53 300 57
rect 301 53 305 57
<< metal3 >>
rect 2 133 311 176
rect 2 129 286 133
rect 290 129 291 133
rect 295 129 296 133
rect 300 129 301 133
rect 305 129 311 133
rect 2 123 311 129
rect 2 119 286 123
rect 290 119 291 123
rect 295 119 296 123
rect 300 119 301 123
rect 305 119 311 123
rect 2 113 311 119
rect 2 109 286 113
rect 290 109 291 113
rect 295 109 296 113
rect 300 109 301 113
rect 305 109 311 113
rect 2 103 311 109
rect 2 99 286 103
rect 290 99 291 103
rect 295 99 296 103
rect 300 99 301 103
rect 305 99 311 103
rect 2 96 311 99
rect 2 87 311 92
rect 2 83 286 87
rect 290 83 291 87
rect 295 83 296 87
rect 300 83 301 87
rect 305 83 311 87
rect 2 77 311 83
rect 2 73 286 77
rect 290 73 291 77
rect 295 73 296 77
rect 300 73 301 77
rect 305 73 311 77
rect 2 67 311 73
rect 2 63 286 67
rect 290 63 291 67
rect 295 63 296 67
rect 300 63 301 67
rect 305 63 311 67
rect 2 57 311 63
rect 2 53 286 57
rect 290 53 291 57
rect 295 53 296 57
rect 300 53 301 57
rect 305 53 311 57
rect 2 -23 311 53
<< labels >>
rlabel metal3 16 107 16 107 1 Vdd!
rlabel metal3 15 81 15 81 1 GND!
<< end >>
